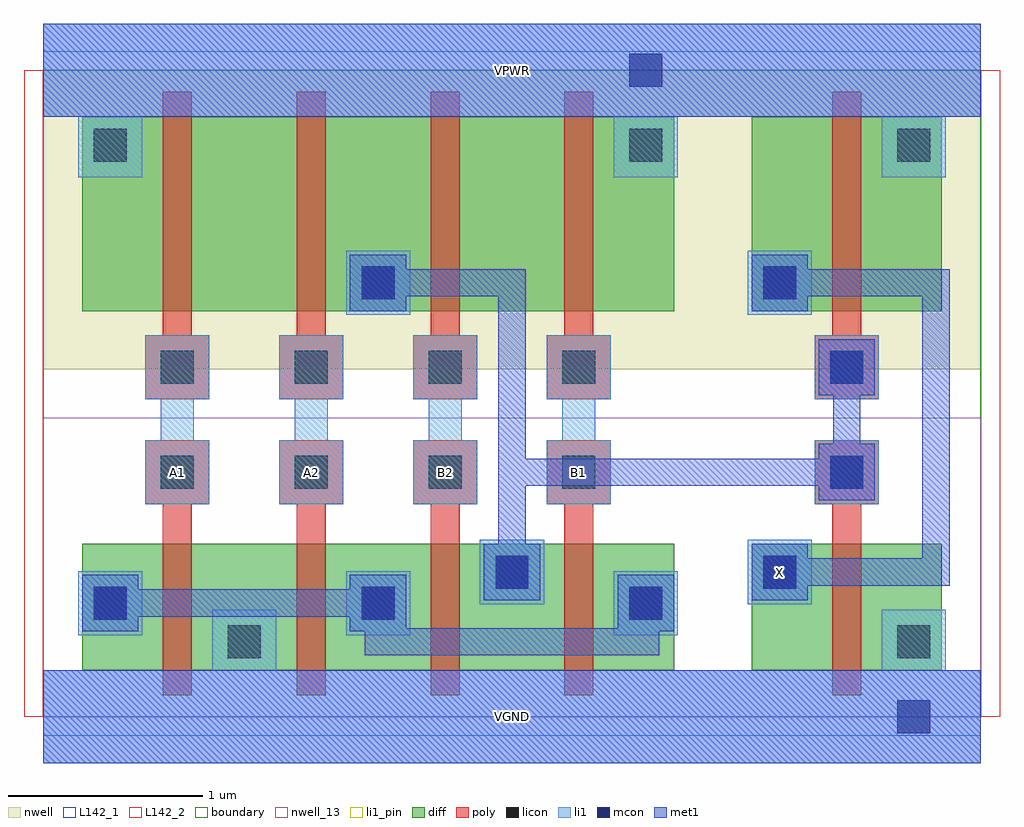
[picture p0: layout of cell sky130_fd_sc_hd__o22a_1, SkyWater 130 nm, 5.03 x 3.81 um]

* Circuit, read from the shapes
.subckt sky130_fd_sc_hd__o22a_1 A1 A2 B1 B2 VGND VPWR X
XM1 VGND A1 n1 VSUBS sky130_fd_pr__nfet_01v8 w=0.65 l=0.15
XM2 n1 A2 VGND VSUBS sky130_fd_pr__nfet_01v8 w=0.65 l=0.15
XM3 n2 B2 n1 VSUBS sky130_fd_pr__nfet_01v8 w=0.65 l=0.15
XM4 n1 B1 n2 VSUBS sky130_fd_pr__nfet_01v8 w=0.65 l=0.15
XM5 VGND n2 X VSUBS sky130_fd_pr__nfet_01v8 w=0.65 l=0.15
XM6 n3 A1 VPWR n4 sky130_fd_pr__pfet_01v8 w=1 l=0.15
XM7 n2 A2 n3 n4 sky130_fd_pr__pfet_01v8 w=1 l=0.15
XM8 n5 B2 n2 n4 sky130_fd_pr__pfet_01v8 w=1 l=0.15
XM9 VPWR B1 n5 n4 sky130_fd_pr__pfet_01v8 w=1 l=0.15
XM10 VPWR n2 X n4 sky130_fd_pr__pfet_01v8 w=1 l=0.15
.ends

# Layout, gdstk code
import gdstk
lib = gdstk.Library(unit=1e-6, precision=1e-09)
def R(c, l, rs):  # rectangles x0, y0, x1, y1
    for r in rs: c.add(gdstk.rectangle(r[:2], r[2:], *l))
def A(c, l, x, y, w, h, nx, ny, dx, dy):  # array of equal rectangles
    R(c, l, [(x+i*dx, y+j*dy, x+i*dx+w, y+j*dy+h) for i in range(nx) for j in range(ny)])
def P(c, l, *ps):  # polygons
    for p in ps: c.add(gdstk.Polygon(p, *l))
nwell_13 = (64, 13)
nwell = (64, 20)
diff = (65, 20)
poly = (66, 20)
licon = (66, 44)
li1_pin = (67, 16)
li1 = (67, 20)
mcon = (67, 44)
met1 = (68, 20)
L142_1 = (142, 1)
L142_2 = (142, 2)
boundary = (235, 4)

sky130_fd_sc_hd__o22a_1 = lib.new_cell('sky130_fd_sc_hd__o22a_1')
R(sky130_fd_sc_hd__o22a_1, nwell_13, [(0,0,4.83,1.54)])
R(sky130_fd_sc_hd__o22a_1, nwell, [(0,1.79,4.83,3.33)])
A(sky130_fd_sc_hd__o22a_1, diff, 0.615, 0.24, 0.69, 0.65, 3, 1, 0.69, 0)
A(sky130_fd_sc_hd__o22a_1, diff, 0.615, 2.09, 0.69, 1, 3, 1, 0.69, 0)
R(sky130_fd_sc_hd__o22a_1, diff, [(0.2,0.24,3.25,0.89), (0.2,0.24,0.615,0.89), (2.685,0.24,3.25,0.89), (3.65,0.24,4.63,0.89), (3.65,0.24,4.065,0.89), (4.065,0.24,4.63,0.89), (0.2,2.09,3.25,3.09), (0.2,2.09,0.615,3.09), (2.685,2.09,3.25,3.09), (3.65,2.09,4.63,3.09), (3.65,2.09,4.065,3.09), (4.065,2.09,4.63,3.09)])
P(sky130_fd_sc_hd__o22a_1, poly, [(1.995,0.11),(1.995,1.095),(1.905,1.095),(1.905,1.425),(2.235,1.425),(2.235,1.095),(2.145,1.095),(2.145,0.11)],
  [(1.905,1.635),(1.905,1.965),(1.995,1.965),(1.995,3.22),(2.145,3.22),(2.145,1.965),(2.235,1.965),(2.235,1.635)],
  [(4.065,0.11),(4.065,1.095),(3.975,1.095),(3.975,1.425),(4.305,1.425),(4.305,1.095),(4.215,1.095),(4.215,0.11)],
  [(3.975,1.635),(3.975,1.965),(4.065,1.965),(4.065,3.22),(4.215,3.22),(4.215,1.965),(4.305,1.965),(4.305,1.635)],
  [(1.305,0.11),(1.305,1.095),(1.215,1.095),(1.215,1.425),(1.545,1.425),(1.545,1.095),(1.455,1.095),(1.455,0.11)],
  [(1.215,1.635),(1.215,1.965),(1.305,1.965),(1.305,3.22),(1.455,3.22),(1.455,1.965),(1.545,1.965),(1.545,1.635)],
  [(0.615,0.11),(0.615,1.095),(0.525,1.095),(0.525,1.425),(0.855,1.425),(0.855,1.095),(0.765,1.095),(0.765,0.11)],
  [(0.525,1.635),(0.525,1.965),(0.615,1.965),(0.615,3.22),(0.765,3.22),(0.765,1.965),(0.855,1.965),(0.855,1.635)],
  [(2.685,0.11),(2.685,1.095),(2.595,1.095),(2.595,1.425),(2.925,1.425),(2.925,1.095),(2.835,1.095),(2.835,0.11)],
  [(2.595,1.635),(2.595,1.965),(2.685,1.965),(2.685,3.22),(2.835,3.22),(2.835,1.965),(2.925,1.965),(2.925,1.635)])
A(sky130_fd_sc_hd__o22a_1, licon, 0.26, 0.5, 0.17, 0.17, 3, 1, 1.38, 0)
A(sky130_fd_sc_hd__o22a_1, licon, 0.605, 1.175, 0.17, 0.17, 4, 2, 0.69, 0.54)
R(sky130_fd_sc_hd__o22a_1, licon, [(0.95,0.3,1.12,0.47), (4.4,0.3,4.57,0.47), (2.33,0.66,2.5,0.83), (3.71,0.66,3.88,0.83), (4.055,1.175,4.225,1.345), (4.055,1.715,4.225,1.885), (1.64,2.15,1.81,2.32), (3.71,2.15,3.88,2.32), (0.26,2.86,0.43,3.03), (3.02,2.86,3.19,3.03), (4.4,2.86,4.57,3.03)])
R(sky130_fd_sc_hd__o22a_1, li1_pin, [(0,-0.24,4.83,0.24), (3.63,0.58,3.96,0.91), (0,3.09,4.83,3.57)])
P(sky130_fd_sc_hd__o22a_1, li1_pin, [(1.905,1.095),(1.905,1.425),(1.985,1.425),(1.985,1.635),(1.905,1.635),(1.905,1.965),(2.235,1.965),(2.235,1.635),(2.155,1.635),(2.155,1.425),(2.235,1.425),(2.235,1.095)],
  [(1.215,1.095),(1.215,1.425),(1.295,1.425),(1.295,1.635),(1.215,1.635),(1.215,1.965),(1.545,1.965),(1.545,1.635),(1.465,1.635),(1.465,1.425),(1.545,1.425),(1.545,1.095)],
  [(2.595,1.095),(2.595,1.425),(2.675,1.425),(2.675,1.635),(2.595,1.635),(2.595,1.965),(2.925,1.965),(2.925,1.635),(2.845,1.635),(2.845,1.425),(2.925,1.425),(2.925,1.095)],
  [(0.525,1.095),(0.525,1.425),(0.605,1.425),(0.605,1.635),(0.525,1.635),(0.525,1.965),(0.855,1.965),(0.855,1.635),(0.775,1.635),(0.775,1.425),(0.855,1.425),(0.855,1.095)])
A(sky130_fd_sc_hd__o22a_1, li1, 0.18, 0.42, 0.33, 0.33, 3, 1, 1.38, 0)
R(sky130_fd_sc_hd__o22a_1, li1, [(2.25,0.58,2.58,0.91), (3.63,0.58,3.96,0.91), (3.975,1.095,4.305,1.425), (3.975,1.635,4.305,1.965), (1.56,2.07,1.89,2.4), (3.63,2.07,3.96,2.4)])
P(sky130_fd_sc_hd__o22a_1, li1, [(1.905,1.095),(1.905,1.425),(1.985,1.425),(1.985,1.635),(1.905,1.635),(1.905,1.965),(2.235,1.965),(2.235,1.635),(2.155,1.635),(2.155,1.425),(2.235,1.425),(2.235,1.095)],
  [(1.215,1.095),(1.215,1.425),(1.295,1.425),(1.295,1.635),(1.215,1.635),(1.215,1.965),(1.545,1.965),(1.545,1.635),(1.465,1.635),(1.465,1.425),(1.545,1.425),(1.545,1.095)],
  [(0.18,2.78),(0.18,3.09),(0,3.09),(0,3.57),(4.83,3.57),(4.83,3.09),(4.65,3.09),(4.65,2.78),(4.32,2.78),(4.32,3.09),(3.27,3.09),(3.27,2.78),(2.94,2.78),(2.94,3.09),(0.51,3.09),(0.51,2.78)],
  [(0.525,1.095),(0.525,1.425),(0.605,1.425),(0.605,1.635),(0.525,1.635),(0.525,1.965),(0.855,1.965),(0.855,1.635),(0.775,1.635),(0.775,1.425),(0.855,1.425),(0.855,1.095)],
  [(0,-0.24),(0,0.24),(0.87,0.24),(0.87,0.55),(1.2,0.55),(1.2,0.24),(4.32,0.24),(4.32,0.55),(4.65,0.55),(4.65,0.24),(4.83,0.24),(4.83,-0.24)],
  [(2.595,1.095),(2.595,1.425),(2.675,1.425),(2.675,1.635),(2.595,1.635),(2.595,1.965),(2.925,1.965),(2.925,1.635),(2.845,1.635),(2.845,1.425),(2.925,1.425),(2.925,1.095)])
A(sky130_fd_sc_hd__o22a_1, mcon, 0.26, 0.5, 0.17, 0.17, 3, 1, 1.38, 0)
R(sky130_fd_sc_hd__o22a_1, mcon, [(4.4,-0.085,4.57,0.085), (2.33,0.66,2.5,0.83), (3.71,0.66,3.88,0.83), (4.055,1.175,4.225,1.345), (4.055,1.715,4.225,1.885), (1.64,2.15,1.81,2.32), (3.71,2.15,3.88,2.32), (3.02,3.245,3.19,3.415)])
R(sky130_fd_sc_hd__o22a_1, met1, [(0,-0.24,4.83,0.24), (0,3.09,4.83,3.57)])
P(sky130_fd_sc_hd__o22a_1, met1, [(2.27,0.6),(2.27,0.89),(2.345,0.89),(2.345,2.165),(1.87,2.165),(1.87,2.09),(1.58,2.09),(1.58,2.38),(1.87,2.38),(1.87,2.305),(2.485,2.305),(2.485,1.33),(3.995,1.33),(3.995,1.405),(4.07,1.405),(4.07,1.655),(3.995,1.655),(3.995,1.945),(4.285,1.945),(4.285,1.655),(4.21,1.655),(4.21,1.405),(4.285,1.405),(4.285,1.115),(3.995,1.115),(3.995,1.19),(2.485,1.19),(2.485,0.89),(2.56,0.89),(2.56,0.6)],
  [(1.655,0.315),(1.655,0.44),(1.58,0.44),(1.58,0.515),(0.49,0.515),(0.49,0.44),(0.2,0.44),(0.2,0.73),(0.49,0.73),(0.49,0.655),(1.58,0.655),(1.58,0.73),(1.87,0.73),(1.87,0.455),(2.96,0.455),(2.96,0.73),(3.25,0.73),(3.25,0.44),(3.175,0.44),(3.175,0.315)],
  [(3.65,0.6),(3.65,0.89),(3.94,0.89),(3.94,0.815),(4.53,0.815),(4.53,2.165),(3.94,2.165),(3.94,2.09),(3.65,2.09),(3.65,2.38),(3.94,2.38),(3.94,2.305),(4.67,2.305),(4.67,0.675),(3.94,0.675),(3.94,0.6)])
R(sky130_fd_sc_hd__o22a_1, L142_1, [(0,-0.1,4.83,0), (0,3.33,4.83,3.43)])
R(sky130_fd_sc_hd__o22a_1, L142_2, [(-0.1,0,0,3.33), (4.83,0,4.93,3.33)])
R(sky130_fd_sc_hd__o22a_1, boundary, [(0,0,4.83,3.33)])
sky130_fd_sc_hd__o22a_1.add(gdstk.Label('X', (3.795,0.745), layer=67, texttype=5))
sky130_fd_sc_hd__o22a_1.add(gdstk.Label('B2', (2.07,1.26), layer=67, texttype=5))
sky130_fd_sc_hd__o22a_1.add(gdstk.Label('A2', (1.38,1.26), layer=67, texttype=5))
sky130_fd_sc_hd__o22a_1.add(gdstk.Label('B1', (2.76,1.26), layer=67, texttype=5))
sky130_fd_sc_hd__o22a_1.add(gdstk.Label('A1', (0.69,1.26), layer=67, texttype=5))
sky130_fd_sc_hd__o22a_1.add(gdstk.Label('VGND', (2.415,0), layer=67, texttype=5))
sky130_fd_sc_hd__o22a_1.add(gdstk.Label('VPWR', (2.415,3.33), layer=67, texttype=5))
sky130_fd_sc_hd__o22a_1.add(gdstk.Label('VGND', (2.415,0), layer=68, texttype=5))
sky130_fd_sc_hd__o22a_1.add(gdstk.Label('VPWR', (2.415,3.33), layer=68, texttype=5))

lib.write_gds('sky130_fd_sc_hd__o22a_1.gds')
